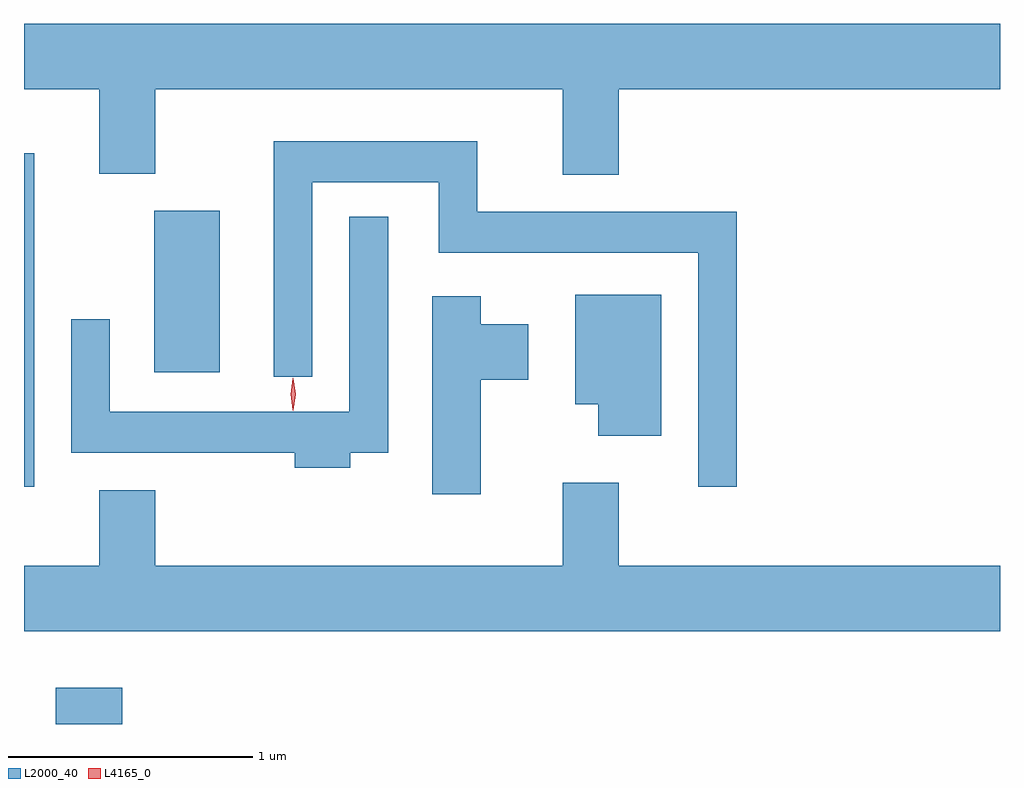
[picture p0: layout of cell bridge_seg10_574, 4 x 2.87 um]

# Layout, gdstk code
import gdstk
lib = gdstk.Library(unit=1e-6, precision=1e-09)
def R(c, l, rs):  # rectangles x0, y0, x1, y1
    for r in rs: c.add(gdstk.rectangle(r[:2], r[2:], *l))
def P(c, l, *ps):  # polygons
    for p in ps: c.add(gdstk.Polygon(p, *l))
L2000_40 = (2000, 40)
L4165_0 = (4165, 0)

bridge_seg10_574 = lib.new_cell('bridge_seg10_574')
R(bridge_seg10_574, L2000_40, [(826.473,2146.835,826.744,2146.984), (826.342,2147.808,826.384,2149.174), (826.876,2148.276,827.144,2148.939)])
P(bridge_seg10_574, L2000_40, [(828.779,2149.436),(830.342,2149.436),(830.342,2149.704),(826.342,2149.704),(826.342,2149.436),(826.651,2149.436),(826.651,2149.091),(826.879,2149.091),(826.879,2149.436),(828.551,2149.436),(828.551,2149.086),(828.779,2149.086)],
  [(829.264,2148.934),(828.199,2148.934),(828.199,2149.224),(827.366,2149.224),(827.366,2148.258),(827.524,2148.258),(827.524,2149.056),(828.041,2149.056),(828.041,2148.766),(829.106,2148.766),(829.106,2147.808),(829.264,2147.808)],
  [(827.679,2147.946),(827.834,2147.946),(827.834,2148.913),(827.676,2148.913),(827.676,2148.114),(826.694,2148.114),(826.694,2148.493),(826.536,2148.493),(826.536,2147.946),(827.451,2147.946),(827.451,2147.886),(827.679,2147.886)],
  [(828.954,2148.594),(828.601,2148.594),(828.601,2148.146),(828.696,2148.146),(828.696,2148.016),(828.954,2148.016)],
  [(828.214,2148.246),(828.409,2148.246),(828.409,2148.474),(828.214,2148.474),(828.214,2148.589),(828.016,2148.589),(828.016,2147.776),(828.214,2147.776)],
  [(830.342,2147.484),(828.779,2147.484),(828.779,2147.824),(828.551,2147.824),(828.551,2147.484),(826.879,2147.484),(826.879,2147.794),(826.651,2147.794),(826.651,2147.484),(826.342,2147.484),(826.342,2147.216),(830.342,2147.216)])
P(bridge_seg10_574, L4165_0, [(827.445,2148.119),(827.444,2148.12),(827.435,2148.186),(827.444,2148.252),(827.445,2148.253),(827.446,2148.252),(827.455,2148.186),(827.446,2148.12)])

lib.write_gds('bridge_seg10_574.gds')
